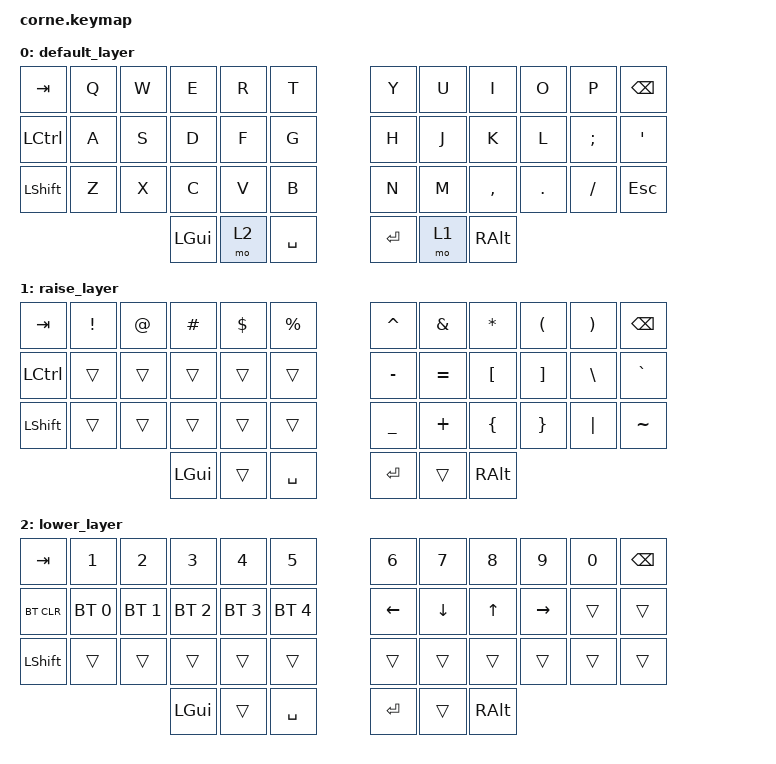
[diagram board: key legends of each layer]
/*
 * Copyright (c) 2024 Johann Q.
 *
 * SPDX-License-Identifier: MIT
 */

#include <behaviors.dtsi>
#include <dt-bindings/zmk/bt.h>
#include <dt-bindings/zmk/keys.h>

// Layers

#define DEFAULT_LAYER 0
#define LOWER_LAYER 1
#define RAISE_LAYER 2

// TAP_DANCE settings

#define TAP_DANCE_MS 200
#define HOLD_TAP_MS 200

// This makes combos explicit, helps prevent rolling when typing normally

#define COMBO_TIMEOUT_MS 20
#define PRIOR_IDLE_MS 80

// MACROS to make the the code easier to read
// include name or reference in keymap
// Format:
//      name        reference             keys, key2
//
// Tap Dances

#define TD_SHLOCK   &shl               // RSHIFT CAPSLOCK

&led_strip { chain-length = <27>; };

/ {
    behaviors {
        shl: tap_dance_shift_lock {
            compatible = "zmk,behavior-tap-dance";
            #binding-cells = <0>;
            tapping-term-ms = <TAP_DANCE_MS>;
            bindings = <&kp RSHIFT>, <&kp CAPSLOCK>;
        };

        hlkr: hold_layer_key_repeat {
            compatible = "zmk,behavior-hold-tap";
            #binding-cells = <2>;
            flavor = "hold-preferred";
            tapping-term-ms = <HOLD_TAP_MS>;
            require-prior-idle-ms = <PRIOR_IDLE_MS>;
            bindings = <&mo>, <&key_repeat>;
        };

        gresc: grave_escape {
            compatible = "zmk,behavior-mod-morph";
            #binding-cells = <0>;
            bindings = <&kp GRAVE>, <&kp ESC>;

            mods = <(MOD_RGUI|MOD_RSFT)>;
        };
    };

    macros {
        enter_esc: enter_esc {
            compatible = "zmk,behavior-macro";
            #binding-cells = <0>;

            // 30ms+ to avoid having HID notifications grouped at the BLE protocol level and being processed out of order.

            wait-ms = <40>;
            tap-ms = <40>;
            bindings = <&kp ENTER &kp ESC>;
        };
    };

    combos {
        compatible = "zmk,combos";

        // This is annoying for gaming so lets not use them lol
        // rs_enter {
        //   timeout-ms = <COMBO_TIMEOUT_MS>;
        //   key-positions = <14 15>; // R S
        //   bindings = <&kp ENTER>;
        //   require-prior-idle-ms = <PRIOR_IDLE_MS>;
        // };
        // st_esc {
        //   timeout-ms = <COMBO_TIMEOUT_MS>;
        //   key-positions = <15 16>; // S T
        //   bindings = <&kp ESC>;
        //   require-prior-idle-ms = <PRIOR_IDLE_MS>;
        // };

        fp_esc {
            timeout-ms = <COMBO_TIMEOUT_MS>;
            key-positions = <3 4>; // F P
            bindings = <&kp LG(P)>;
            require-prior-idle-ms = <PRIOR_IDLE_MS>;
        };

        ei_enter {
            timeout-ms = <COMBO_TIMEOUT_MS>;
            key-positions = <20 21>; // E I
            bindings = <&kp ENTER>;
            require-prior-idle-ms = <PRIOR_IDLE_MS>;
        };

        ne_esc {
            timeout-ms = <COMBO_TIMEOUT_MS>;
            key-positions = <19 20>; // N E
            bindings = <&kp ESC>;
            require-prior-idle-ms = <PRIOR_IDLE_MS>;
        };

        nei_enter_esc {
            timeout-ms = <COMBO_TIMEOUT_MS>;
            key-positions = <19 20 21>; // N E I
            bindings = <&enter_esc>;
            require-prior-idle-ms = <PRIOR_IDLE_MS>;
        };

        combo_menu {
            timeout-ms = <COMBO_TIMEOUT_MS>;
            key-positions = <32 33>; // COMMA DOT
            bindings = <&kp K_CMENU>;
            require-prior-idle-ms = <PRIOR_IDLE_MS>;
        };

        cd_paste {
            timeout-ms = <COMBO_TIMEOUT_MS>;
            key-positions = <27 28>;
            bindings = <&kp LS(LC(V))>;
        };
    };

    keymap {
        compatible = "zmk,keymap";

        default_layer {
            // -----------------------------------------------------------------------------------------
            // |  TAB |  Q  |  W  |  E  |  R  |  T  |   |  Y  |  U   |  I  |  O  |  P  | BSPC |
            // | CTRL |  A  |  S  |  D  |  F  |  G  |   |  H  |  J   |  K  |  L  |  ;  |  '   |
            // | SHFT |  Z  |  X  |  C  |  V  |  B  |   |  N  |  M   |  ,  |  .  |  /  | ESC  |
            //                    | GUI | LWR | SPC |   | ENT | RSE  | ALT |

            bindings = <
&kp TAB    &kp Q  &kp W  &kp E     &kp R  &kp T        &kp Y    &kp U  &kp I      &kp O    &kp P     &kp BSPC
&kp LCTRL  &kp A  &kp S  &kp D     &kp F  &kp G        &kp H    &kp J  &kp K      &kp L    &kp SEMI  &kp SQT
&kp LSHFT  &kp Z  &kp X  &kp C     &kp V  &kp B        &kp N    &kp M  &kp COMMA  &kp DOT  &kp FSLH  &kp ESC
                         &kp LGUI  &mo 2  &kp SPACE    &kp RET  &mo 1  &kp RALT
            >;
        };

        raise_layer {
            // -----------------------------------------------------------------------------------------
            // |  TAB |  !  |  @  |  #  |  $  |  %  |   |  ^  |  &  |  *  |  (  |  )  | BSPC |
            // | CTRL |     |     |     |     |     |   |  -  |  =  |  [  |  ]  |  \  |  `   |
            // | SHFT |     |     |     |     |     |   |  _  |  +  |  {  |  }  | "|" |  ~   |
            //                    | GUI |     | SPC |   | ENT |     | ALT |

            bindings = <
&kp TAB    &kp EXCL  &kp AT  &kp HASH  &kp DLLR  &kp PRCNT    &kp CARET  &kp AMPS   &kp ASTRK  &kp LPAR  &kp RPAR  &kp BSPC
&kp LCTRL  &trans    &trans  &trans    &trans    &trans       &kp MINUS  &kp EQUAL  &kp LBKT   &kp RBKT  &kp BSLH  &kp GRAVE
&kp LSHFT  &trans    &trans  &trans    &trans    &trans       &kp UNDER  &kp PLUS   &kp LBRC   &kp RBRC  &kp PIPE  &kp TILDE
                             &kp LGUI  &trans    &kp SPACE    &kp RET    &trans     &kp RALT
            >;
        };

        lower_layer {
            // -----------------------------------------------------------------------------------------
            // |  TAB |  1  |  2  |  3  |  4  |  5  |   |  6  |  7  |  8  |  9  |  0  | BSPC |
            // | BTCLR| BT1 | BT2 | BT3 | BT4 | BT5 |   | LFT | DWN |  UP | RGT |     |      |
            // | SHFT |     |     |     |     |     |   |     |     |     |     |     |      |
            //                    | GUI |     | SPC |   | ENT |     | ALT |

            bindings = <
&kp TAB     &kp N1        &kp N2        &kp N3        &kp N4        &kp N5          &kp N6    &kp N7    &kp N8    &kp N9     &kp N0  &kp BSPC
&bt BT_CLR  &bt BT_SEL 0  &bt BT_SEL 1  &bt BT_SEL 2  &bt BT_SEL 3  &bt BT_SEL 4    &kp LEFT  &kp DOWN  &kp UP    &kp RIGHT  &trans  &trans
&kp LSHFT   &trans        &trans        &trans        &trans        &trans          &trans    &trans    &trans    &trans     &trans  &trans
                                        &kp LGUI      &trans        &kp SPACE       &kp RET   &trans    &kp RALT
            >;
        };
    };
};
